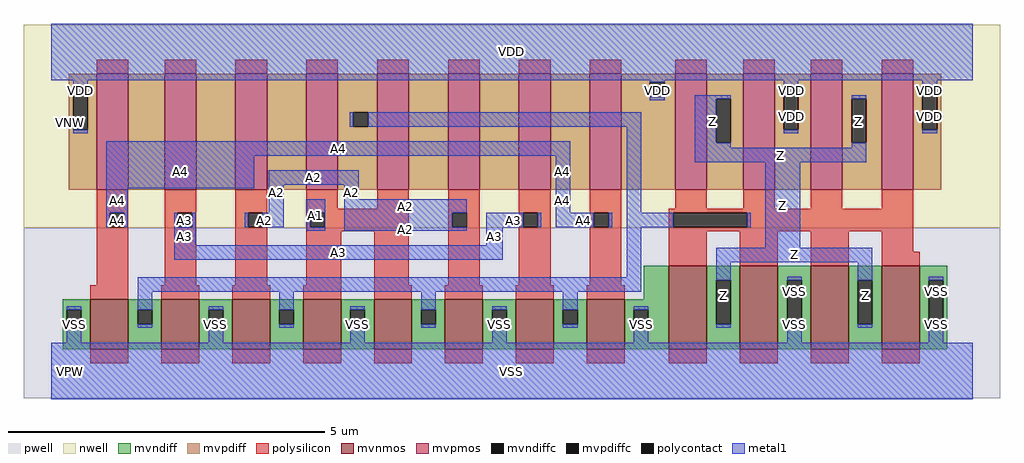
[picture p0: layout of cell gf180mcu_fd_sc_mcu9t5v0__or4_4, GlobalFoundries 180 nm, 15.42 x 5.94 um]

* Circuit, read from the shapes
.subckt gf180mcu_fd_sc_mcu9t5v0__or4_4 A1 A2 A3 A4 Z VDD VNW VPW VSS
XM1 n1 A4 VSS VPW nfet_06v0 w=0.79u l=0.6u m=2
XM2 VSS A3 n1 VPW nfet_06v0 w=0.79u l=0.6u m=2
XM3 n1 A2 VSS VPW nfet_06v0 w=0.79u l=0.6u m=2
XM4 VSS A1 n1 VPW nfet_06v0 w=0.79u l=0.6u m=2
XM5 Z n1 VSS VPW nfet_06v0 w=1.32u l=0.6u m=4
XM6 n2 A4 VDD VNW pfet_06v0 w=1.83u l=0.5u
XM7 n3 A3 n2 VNW pfet_06v0 w=1.83u l=0.5u
XM8 n4 A2 n3 VNW pfet_06v0 w=1.83u l=0.5u
XM9 n1 A1 n4 VNW pfet_06v0 w=1.83u l=0.5u
XM10 n5 A1 n1 VNW pfet_06v0 w=1.83u l=0.5u
XM11 n6 A2 n5 VNW pfet_06v0 w=1.83u l=0.5u
XM12 n7 A3 n6 VNW pfet_06v0 w=1.83u l=0.5u
XM13 VDD A4 n7 VNW pfet_06v0 w=1.83u l=0.5u
XM14 Z n1 VDD VNW pfet_06v0 w=1.83u l=0.5u m=4
.ends

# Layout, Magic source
magic
tech gf180mcuD
magscale 1 10
<< nwell >>
rect -86 453 2998 1094
<< pwell >>
rect -86 -86 2998 453
<< mvnmos >>
rect 124 69 244 227
rect 348 69 468 227
rect 572 69 692 227
rect 796 69 916 227
rect 1020 69 1140 227
rect 1244 69 1364 227
rect 1468 69 1588 227
rect 1692 69 1812 227
rect 1952 69 2072 333
rect 2176 69 2296 333
rect 2400 69 2520 333
rect 2624 69 2744 333
<< mvpmos >>
rect 144 573 244 939
rect 358 573 458 939
rect 582 573 682 939
rect 806 573 906 939
rect 1030 573 1130 939
rect 1254 573 1354 939
rect 1478 573 1578 939
rect 1702 573 1802 939
rect 1972 573 2072 939
rect 2186 573 2286 939
rect 2400 573 2500 939
rect 2624 573 2724 939
<< mvndiff >>
rect 1872 227 1952 333
rect 36 193 124 227
rect 36 147 49 193
rect 95 147 124 193
rect 36 69 124 147
rect 244 193 348 227
rect 244 147 273 193
rect 319 147 348 193
rect 244 69 348 147
rect 468 193 572 227
rect 468 147 497 193
rect 543 147 572 193
rect 468 69 572 147
rect 692 193 796 227
rect 692 147 721 193
rect 767 147 796 193
rect 692 69 796 147
rect 916 193 1020 227
rect 916 147 945 193
rect 991 147 1020 193
rect 916 69 1020 147
rect 1140 193 1244 227
rect 1140 147 1169 193
rect 1215 147 1244 193
rect 1140 69 1244 147
rect 1364 193 1468 227
rect 1364 147 1393 193
rect 1439 147 1468 193
rect 1364 69 1468 147
rect 1588 193 1692 227
rect 1588 147 1617 193
rect 1663 147 1692 193
rect 1588 69 1692 147
rect 1812 193 1952 227
rect 1812 147 1841 193
rect 1887 147 1952 193
rect 1812 69 1952 147
rect 2072 287 2176 333
rect 2072 147 2101 287
rect 2147 147 2176 287
rect 2072 69 2176 147
rect 2296 287 2400 333
rect 2296 147 2325 287
rect 2371 147 2400 287
rect 2296 69 2400 147
rect 2520 287 2624 333
rect 2520 147 2549 287
rect 2595 147 2624 287
rect 2520 69 2624 147
rect 2744 287 2832 333
rect 2744 147 2773 287
rect 2819 147 2832 287
rect 2744 69 2832 147
<< mvpdiff >>
rect 56 902 144 939
rect 56 762 69 902
rect 115 762 144 902
rect 56 573 144 762
rect 244 573 358 939
rect 458 573 582 939
rect 682 573 806 939
rect 906 818 1030 939
rect 906 772 955 818
rect 1001 772 1030 818
rect 906 573 1030 772
rect 1130 573 1254 939
rect 1354 573 1478 939
rect 1578 573 1702 939
rect 1802 912 1972 939
rect 1802 866 1892 912
rect 1938 866 1972 912
rect 1802 573 1972 866
rect 2072 861 2186 939
rect 2072 721 2101 861
rect 2147 721 2186 861
rect 2072 573 2186 721
rect 2286 902 2400 939
rect 2286 762 2315 902
rect 2361 762 2400 902
rect 2286 573 2400 762
rect 2500 861 2624 939
rect 2500 721 2529 861
rect 2575 721 2624 861
rect 2500 573 2624 721
rect 2724 902 2812 939
rect 2724 762 2753 902
rect 2799 762 2812 902
rect 2724 573 2812 762
<< mvndiffc >>
rect 49 147 95 193
rect 273 147 319 193
rect 497 147 543 193
rect 721 147 767 193
rect 945 147 991 193
rect 1169 147 1215 193
rect 1393 147 1439 193
rect 1617 147 1663 193
rect 1841 147 1887 193
rect 2101 147 2147 287
rect 2325 147 2371 287
rect 2549 147 2595 287
rect 2773 147 2819 287
<< mvpdiffc >>
rect 69 762 115 902
rect 955 772 1001 818
rect 1892 866 1938 912
rect 2101 721 2147 861
rect 2315 762 2361 902
rect 2529 721 2575 861
rect 2753 762 2799 902
<< polysilicon >>
rect 144 939 244 983
rect 358 939 458 983
rect 582 939 682 983
rect 806 939 906 983
rect 1030 939 1130 983
rect 1254 939 1354 983
rect 1478 939 1578 983
rect 1702 939 1802 983
rect 1972 939 2072 983
rect 2186 939 2286 983
rect 2400 939 2500 983
rect 2624 939 2724 983
rect 144 500 244 573
rect 144 454 185 500
rect 231 454 244 500
rect 144 271 244 454
rect 358 500 458 573
rect 358 454 399 500
rect 445 454 458 500
rect 358 271 458 454
rect 582 500 682 573
rect 582 454 623 500
rect 669 454 682 500
rect 582 271 682 454
rect 806 513 906 573
rect 1030 513 1130 573
rect 806 500 1130 513
rect 806 454 819 500
rect 865 454 1130 500
rect 806 441 1130 454
rect 806 271 916 441
rect 124 227 244 271
rect 348 227 468 271
rect 572 227 692 271
rect 796 227 916 271
rect 1020 271 1130 441
rect 1254 500 1354 573
rect 1254 454 1267 500
rect 1313 454 1354 500
rect 1254 271 1354 454
rect 1478 500 1578 573
rect 1478 454 1491 500
rect 1537 454 1578 500
rect 1478 271 1578 454
rect 1702 500 1802 573
rect 1972 513 2072 573
rect 2186 513 2286 573
rect 2400 513 2500 573
rect 2624 513 2724 573
rect 1702 454 1715 500
rect 1761 454 1802 500
rect 1702 271 1802 454
rect 1952 500 2724 513
rect 1952 454 1965 500
rect 2199 454 2724 500
rect 1952 441 2724 454
rect 1952 333 2072 441
rect 2176 333 2296 441
rect 2400 333 2520 441
rect 2624 377 2724 441
rect 2624 333 2744 377
rect 1020 227 1140 271
rect 1244 227 1364 271
rect 1468 227 1588 271
rect 1692 227 1812 271
rect 124 25 244 69
rect 348 25 468 69
rect 572 25 692 69
rect 796 25 916 69
rect 1020 25 1140 69
rect 1244 25 1364 69
rect 1468 25 1588 69
rect 1692 25 1812 69
rect 1952 25 2072 69
rect 2176 25 2296 69
rect 2400 25 2520 69
rect 2624 25 2744 69
<< polycontact >>
rect 185 454 231 500
rect 399 454 445 500
rect 623 454 669 500
rect 819 454 865 500
rect 1267 454 1313 500
rect 1491 454 1537 500
rect 1715 454 1761 500
rect 1965 454 2199 500
<< metal1 >>
rect 0 918 2912 1098
rect 69 902 115 918
rect 1892 912 1938 918
rect 2315 902 2361 918
rect 1892 855 1938 866
rect 2034 861 2147 872
rect 944 772 955 818
rect 1001 772 1864 818
rect 69 751 115 762
rect 174 680 1640 726
rect 174 578 642 680
rect 688 588 972 634
rect 174 500 242 578
rect 688 500 734 588
rect 926 542 972 588
rect 174 454 185 500
rect 231 454 242 500
rect 388 454 399 500
rect 445 454 456 500
rect 612 454 623 500
rect 669 454 734 500
rect 807 500 866 542
rect 807 454 819 500
rect 865 454 866 500
rect 388 397 456 454
rect 807 443 866 454
rect 926 500 1313 542
rect 1594 500 1640 680
rect 1818 500 1864 772
rect 2034 721 2101 861
rect 2753 902 2799 918
rect 2315 751 2361 762
rect 2529 861 2575 872
rect 2034 705 2147 721
rect 2753 751 2799 762
rect 2529 705 2575 721
rect 2034 659 2575 705
rect 926 454 1267 500
rect 926 443 1313 454
rect 1374 454 1491 500
rect 1537 454 1548 500
rect 1594 454 1715 500
rect 1761 454 1772 500
rect 1818 454 1965 500
rect 2199 454 2210 500
rect 1374 397 1426 454
rect 388 351 1426 397
rect 1818 296 1864 454
rect 2256 390 2367 659
rect 273 250 1864 296
rect 2101 344 2595 390
rect 2101 287 2147 344
rect 49 193 95 204
rect 49 90 95 147
rect 273 193 319 250
rect 273 136 319 147
rect 497 193 543 204
rect 497 90 543 147
rect 721 193 767 250
rect 721 136 767 147
rect 945 193 991 204
rect 945 90 991 147
rect 1169 193 1215 250
rect 1169 136 1215 147
rect 1393 193 1439 204
rect 1393 90 1439 147
rect 1617 193 1663 250
rect 1617 136 1663 147
rect 1841 193 1887 204
rect 1841 90 1887 147
rect 2101 136 2147 147
rect 2325 287 2371 298
rect 2325 90 2371 147
rect 2549 287 2595 344
rect 2549 136 2595 147
rect 2773 287 2819 298
rect 2773 90 2819 147
rect 0 -90 2912 90
<< labels >>
flabel metal1 s 807 443 866 542 0 FreeSans 200 0 0 0 A1
port 1 nsew default input
flabel metal1 s 688 588 972 634 0 FreeSans 200 0 0 0 A2
port 2 nsew default input
flabel metal1 s 1374 454 1548 500 0 FreeSans 200 0 0 0 A3
port 3 nsew default input
flabel metal1 s 174 680 1640 726 0 FreeSans 200 0 0 0 A4
port 4 nsew default input
flabel metal1 s 0 918 2912 1098 0 FreeSans 200 0 0 0 VDD
port 6 nsew power bidirectional abutment
flabel metal1 s 2773 204 2819 298 0 FreeSans 200 0 0 0 VSS
port 9 nsew ground bidirectional abutment
flabel metal1 s 2529 705 2575 872 0 FreeSans 200 0 0 0 Z
port 5 nsew default output
flabel nwell s 10 734 110 834 0 FreeSans 400 0 0 0 VNW
port 7 nsew power bidirectional
flabel pwell s 10 -50 110 50 0 FreeSans 400 0 0 0 VPW
port 8 nsew ground bidirectional
rlabel metal1 s 926 542 972 588 1 A2
port 2 nsew default input
rlabel metal1 s 688 542 734 588 1 A2
port 2 nsew default input
rlabel metal1 s 926 500 1313 542 1 A2
port 2 nsew default input
rlabel metal1 s 688 500 734 542 1 A2
port 2 nsew default input
rlabel metal1 s 926 454 1313 500 1 A2
port 2 nsew default input
rlabel metal1 s 612 454 734 500 1 A2
port 2 nsew default input
rlabel metal1 s 926 443 1313 454 1 A2
port 2 nsew default input
rlabel metal1 s 388 454 456 500 1 A3
port 3 nsew default input
rlabel metal1 s 1374 397 1426 454 1 A3
port 3 nsew default input
rlabel metal1 s 388 397 456 454 1 A3
port 3 nsew default input
rlabel metal1 s 388 351 1426 397 1 A3
port 3 nsew default input
rlabel metal1 s 1594 578 1640 680 1 A4
port 4 nsew default input
rlabel metal1 s 174 578 642 680 1 A4
port 4 nsew default input
rlabel metal1 s 1594 500 1640 578 1 A4
port 4 nsew default input
rlabel metal1 s 174 500 242 578 1 A4
port 4 nsew default input
rlabel metal1 s 1594 454 1772 500 1 A4
port 4 nsew default input
rlabel metal1 s 174 454 242 500 1 A4
port 4 nsew default input
rlabel metal1 s 2034 705 2147 872 1 Z
port 5 nsew default output
rlabel metal1 s 2034 659 2575 705 1 Z
port 5 nsew default output
rlabel metal1 s 2256 390 2367 659 1 Z
port 5 nsew default output
rlabel metal1 s 2101 344 2595 390 1 Z
port 5 nsew default output
rlabel metal1 s 2549 136 2595 344 1 Z
port 5 nsew default output
rlabel metal1 s 2101 136 2147 344 1 Z
port 5 nsew default output
rlabel metal1 s 2753 855 2799 918 1 VDD
port 6 nsew power bidirectional abutment
rlabel metal1 s 2315 855 2361 918 1 VDD
port 6 nsew power bidirectional abutment
rlabel metal1 s 1892 855 1938 918 1 VDD
port 6 nsew power bidirectional abutment
rlabel metal1 s 69 855 115 918 1 VDD
port 6 nsew power bidirectional abutment
rlabel metal1 s 2753 751 2799 855 1 VDD
port 6 nsew power bidirectional abutment
rlabel metal1 s 2315 751 2361 855 1 VDD
port 6 nsew power bidirectional abutment
rlabel metal1 s 69 751 115 855 1 VDD
port 6 nsew power bidirectional abutment
rlabel metal1 s 2325 204 2371 298 1 VSS
port 9 nsew ground bidirectional abutment
rlabel metal1 s 2773 90 2819 204 1 VSS
port 9 nsew ground bidirectional abutment
rlabel metal1 s 2325 90 2371 204 1 VSS
port 9 nsew ground bidirectional abutment
rlabel metal1 s 1841 90 1887 204 1 VSS
port 9 nsew ground bidirectional abutment
rlabel metal1 s 1393 90 1439 204 1 VSS
port 9 nsew ground bidirectional abutment
rlabel metal1 s 945 90 991 204 1 VSS
port 9 nsew ground bidirectional abutment
rlabel metal1 s 497 90 543 204 1 VSS
port 9 nsew ground bidirectional abutment
rlabel metal1 s 49 90 95 204 1 VSS
port 9 nsew ground bidirectional abutment
rlabel metal1 s 0 -90 2912 90 1 VSS
port 9 nsew ground bidirectional abutment
<< properties >>
string FIXED_BBOX 0 0 2912 1008
string GDS_END 303184
string GDS_FILE $PDKPATH/libs.ref/gf180mcu_fd_sc_mcu9t5v0/gds/gf180mcu_fd_sc_mcu9t5v0.gds
string GDS_START 296848
string LEFclass core
string LEFsite GF018hv5v_green_sc9
string LEFsymmetry X Y
<< end >>
